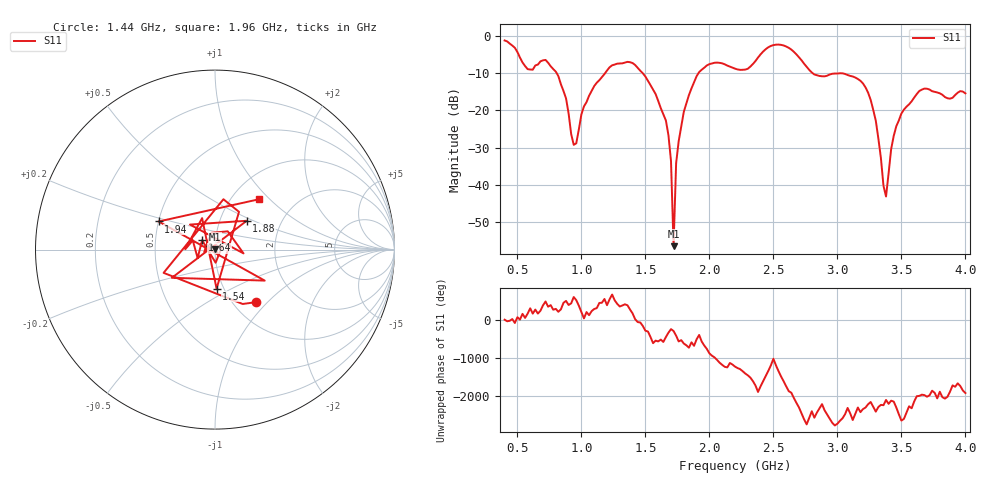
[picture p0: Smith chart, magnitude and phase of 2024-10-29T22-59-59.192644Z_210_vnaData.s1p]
!Created with skrf (http://scikit-rf.org).
# Hz S RI R 50.0
!freq ReS11 ImS11
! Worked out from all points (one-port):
!   181 points, 400 MHz to 4 GHz, reference 50 ohm
!   lowest |S11| = -56.4 dB at 1.72 GHz (marker M1), VSWR 1.00, Z = 50 + j0.145 ohm
!   |S11| at or under -10 dB: 806.5 MHz to 1.185 GHz (378.9 MHz wide, 38 % of centre); 1.478 GHz to 1.915 GHz (436.6 MHz wide, 25.7 % of centre); 2.806 GHz to end of sweep
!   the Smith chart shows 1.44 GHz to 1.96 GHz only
!   S11 on the Smith chart (normalised r, x): 1.44 GHz: 1.27, -0.86; 1.54 GHz: 0.92, -0.42; 1.64 GHz: 0.86, +0.09; 1.88 GHz: 1.34, +0.46; 1.94 GHz: 0.50, +0.18; 1.96 GHz: 1.33, +0.87
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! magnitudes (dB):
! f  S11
! 400 MHz  -1.3
! 580 MHz  -8.9
! 720 MHz  -6.5
! 860 MHz  -14.8
! 940 MHz  -29.2
! 1.1 GHz  -13.5
! 1.3 GHz  -7.4
! 1.44 GHz  -8.6
! 1.54 GHz  -13.2
! 1.64 GHz  -21.0
! 1.7 GHz  -33.6
! 1.72 GHz  -56.4
! 1.74 GHz  -34.2
! 1.76 GHz  -28.3
! 1.88 GHz  -12.4
! 1.94 GHz  -9.1
! 1.96 GHz  -8.6
! 2.2 GHz  -8.8
! 2.5 GHz  -2.5
! 2.66 GHz  -4.3
! 2.82 GHz  -10.4
! 3.1 GHz  -10.7
! 3.26 GHz  -17.2
! 3.38 GHz  -43.1
! 3.44 GHz  -26.9
! 3.56 GHz  -18.4
! 3.68 GHz  -14.2
! 4 GHz  -15.4
